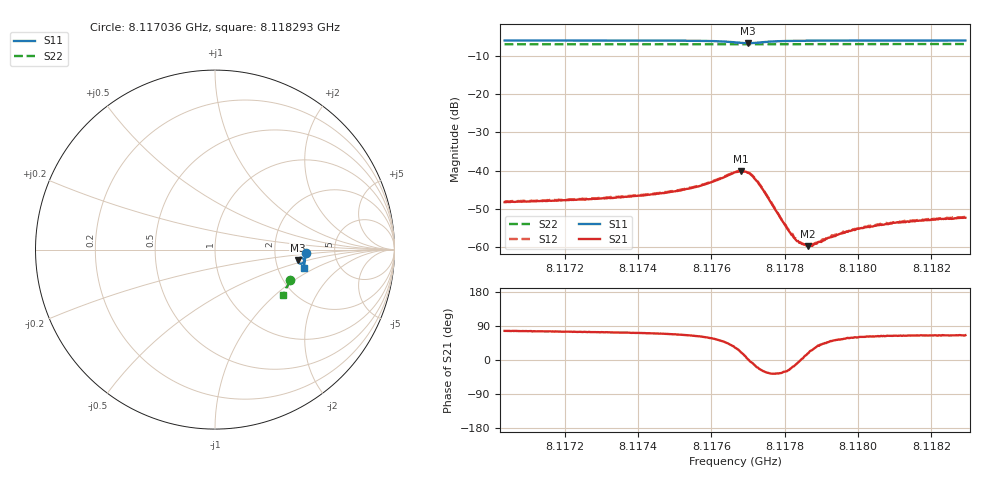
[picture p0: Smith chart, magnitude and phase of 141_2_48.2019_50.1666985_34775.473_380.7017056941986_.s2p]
#  HZ  S  RI  R  50.00
! Rohde & Schwarz Vector Network Analyzer
! Rohde-Schwarz,ZNB20-2Port,1311601062101988,3.16
! Created: UTC 3/20/2024, 11:42:19 AM
! freq[Hz]  re:S11  im:S11  re:S21  im:S21  re:S12  im:S12  re:S22  im:S22
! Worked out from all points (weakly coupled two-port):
!   401 points, 8.117036 GHz to 8.118293 GHz, reference 50 ohm
!   highest |S21| = -40.12 dB at 8.11768 GHz (marker M1); lowest = -59.8 dB at 8.117862 GHz (marker M2)
!   lowest |S11| = -6.7 dB at 8.117699 GHz (marker M3), VSWR 2.74, Z = 133 - j20.4 ohm
!   |S11| at or under -10 dB: nowhere
!   |S22| runs from -6.9 to -6.8 dB; largest |S21 - S12| = 0.00038
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8.1170359e9  0.5057 -0.0198  0.000878 0.00376  0.000932 0.00384  0.4168 -0.1719
8.1172463e9  0.5042 -0.0368  0.00115 0.00402  0.00123 0.0041  0.4115 -0.1857
8.1173312e9  0.5034 -0.0441  0.00129 0.00417  0.00139 0.00429  0.4091 -0.1912
8.1174568e9  0.5009 -0.0559  0.00175 0.00468  0.00183 0.00475  0.4057 -0.1993
8.1175134e9  0.499 -0.062  0.00215 0.00503  0.00227 0.0051  0.4039 -0.203
8.1175668e9  0.4954 -0.0688  0.00288 0.00555  0.003 0.00564  0.4023 -0.2064
8.1176642e9  0.4715 -0.0776  0.00801 0.00514  0.00809 0.00514  0.3983 -0.2124
8.1176799e9  0.4645 -0.0721  0.00922 0.00352  0.00936 0.00346  0.3976 -0.2129
8.1176987e9  0.4611 -0.06  0.00935 0.000422  0.00956 0.000493  0.397 -0.2135
8.1177145e9  0.4656 -0.0503  0.00807 -0.00152  0.0082 -0.00172  0.3969 -0.2141
8.1177302e9  0.4738 -0.0455  0.00605 -0.00261  0.00617 -0.00269  0.3969 -0.2149
8.117793e9  0.4937 -0.0535  0.00184 -0.00121  0.00186 -0.00124  0.3958 -0.2191
8.1178213e9  0.4964 -0.0587  0.00134 -0.000436  0.0014 -0.000497  0.395 -0.2211
8.1178338e9  0.4971 -0.0608  0.00117 -0.000183  0.00125 -0.000217  0.3946 -0.222
8.1178464e9  0.4977 -0.0627  0.00109 5.68e-05  0.00111 7.15e-05  0.3943 -0.2228
8.1178621e9  0.498 -0.0651  0.00098 0.000297  0.00102 0.000328  0.3938 -0.2237
8.1178747e9  0.4982 -0.0666  0.000925 0.000457  0.000982 0.000477  0.3934 -0.2248
8.1179187e9  0.4985 -0.072  0.000896 0.000969  0.000924 0.000932  0.392 -0.2276
8.1179815e9  0.4983 -0.0786  0.000845 0.0014  0.000865 0.0014  0.3898 -0.2316
8.1180852e9  0.4971 -0.0881  0.000886 0.00182  0.00091 0.00181  0.3863 -0.2379
8.1181888e9  0.4955 -0.0968  0.000963 0.00202  0.000987 0.0021  0.3828 -0.2442
8.1182925e9  0.4939 -0.1049  0.001 0.00219  0.0011 0.00222  0.379 -0.2506
